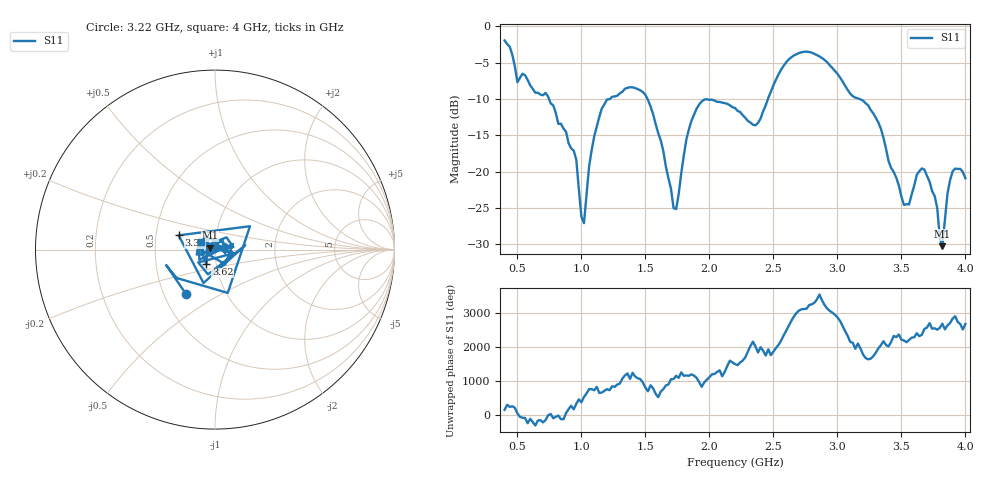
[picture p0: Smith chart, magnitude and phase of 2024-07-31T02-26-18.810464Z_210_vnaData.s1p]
!Created with skrf (http://scikit-rf.org).
# Hz S RI R 50.0
!freq ReS11 ImS11
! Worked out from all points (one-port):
!   181 points, 400 MHz to 4 GHz, reference 50 ohm
!   lowest |S11| = -30.3 dB at 3.82 GHz (marker M1), VSWR 1.06, Z = 47.2 + j1.05 ohm
!   |S11| at or under -10 dB: 746.8 MHz to 1.223 GHz (475.7 MHz wide, 48.3 % of centre); 1.516 GHz to 2.457 GHz (941.7 MHz wide, 47.4 % of centre); 3.17 GHz to end of sweep
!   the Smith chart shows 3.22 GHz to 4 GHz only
!   S11 on the Smith chart (normalised r, x): 3.22 GHz: 0.65, -0.35; 3.32 GHz: 0.66, +0.11; 3.62 GHz: 0.90, -0.15; 4 GHz: 0.85, +0.07
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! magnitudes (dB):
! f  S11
! 400 MHz  -2.0
! 500 MHz  -7.7
! 720 MHz  -9.2
! 860 MHz  -14.1
! 960 MHz  -18.4
! 1.02 GHz  -27.1
! 1.06 GHz  -19.3
! 1.14 GHz  -12.5
! 1.3 GHz  -9.2
! 1.5 GHz  -9.4
! 1.62 GHz  -15.7
! 1.72 GHz  -25.0
! 1.76 GHz  -23.1
! 1.82 GHz  -15.6
! 1.92 GHz  -10.8
! 2.2 GHz  -11.2
! 2.36 GHz  -13.6
! 2.66 GHz  -4.0
! 2.88 GHz  -4.4
! 3.1 GHz  -9.3
! 3.22 GHz  -10.6
! 3.32 GHz  -13.2
! 3.56 GHz  -24.5
! 3.62 GHz  -20.4
! 3.72 GHz  -21.4
! 3.82 GHz  -30.3
! 3.9 GHz  -20.0
! 4 GHz  -20.9
